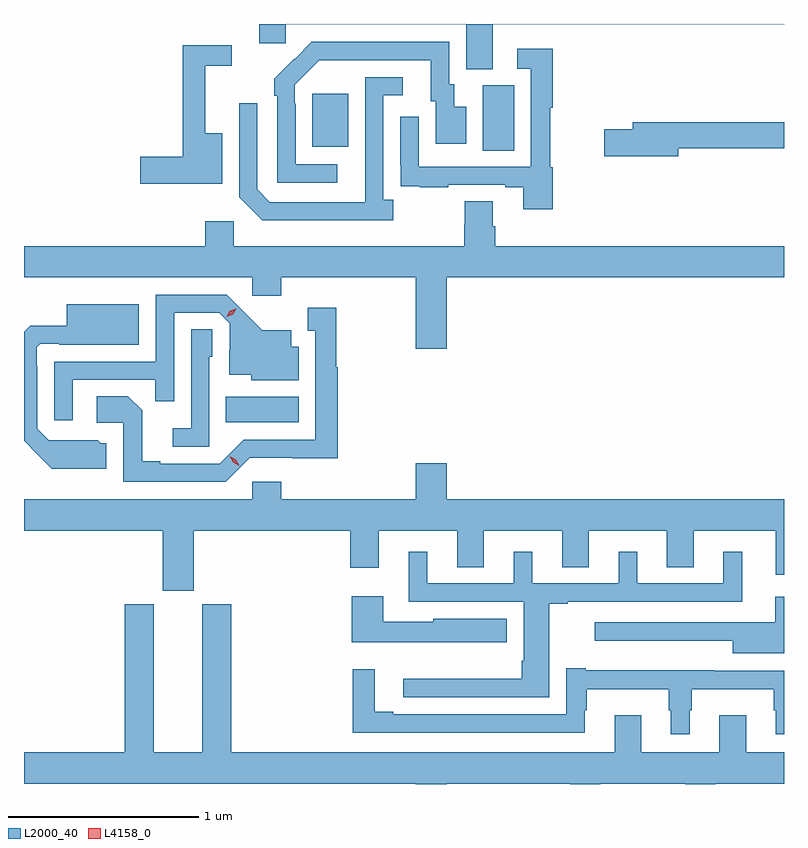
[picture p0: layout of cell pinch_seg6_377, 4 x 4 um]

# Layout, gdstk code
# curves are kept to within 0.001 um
import gdstk
lib = gdstk.Library(unit=1e-6, precision=1e-09)
def R(c, l, rs):  # rectangles x0, y0, x1, y1
    for r in rs: c.add(gdstk.rectangle(r[:2], r[2:], *l))
def P(c, l, *ps):  # polygons
    for p in ps: c.add(gdstk.Polygon(p, *l))
L2000_40 = (2000, 40)
L4158_0 = (4158, 0)

pinch_seg6_377 = lib.new_cell('pinch_seg6_377')
R(pinch_seg6_377, L2000_40, [(655.516,950.57,655.9,950.704), (656.87,952,657.034,952.344), (655.973,952.019,656.161,952.3)])
P(pinch_seg6_377, L2000_40, [(656.923,952.664),(658.455,952.664),(658.455,952.666),(654.455,952.666),(654.455,952.664),(655.694,952.664),(655.694,952.566),(655.833,952.566),(655.833,952.664),(656.783,952.664),(656.783,952.429),(656.923,952.429)],
  [(656.104,951.927),(655.884,951.927),(655.884,952.247),(655.881,952.247),(655.881,952.347),(656.01,952.476),(656.597,952.476),(656.597,952.26),(656.621,952.26),(656.621,952.035),(656.782,952.035),(656.782,952.231),(656.719,952.231),(656.719,952.35),(656.694,952.35),(656.694,952.572),(655.97,952.572),(655.773,952.377),(655.773,952.289),(655.788,952.289),(655.788,951.831),(656.104,951.831)],
  [(655.498,952.09),(655.409,952.09),(655.409,952.446),(655.549,952.446),(655.549,952.554),(655.291,952.554),(655.291,951.968),(655.068,951.968),(655.068,951.826),(655.498,951.826)],
  [(657.239,951.912),(657.224,951.912),(657.224,952.224),(657.239,952.224),(657.239,952.537),(657.051,952.537),(657.051,952.431),(657.123,952.431),(657.123,951.915),(656.532,951.915),(656.532,952.177),(656.436,952.177),(656.436,951.922),(656.437,951.922),(656.437,951.813),(656.539,951.813),(656.539,951.807),(656.687,951.807),(656.687,951.819),(656.987,951.819),(656.987,951.807),(657.083,951.807),(657.083,951.69),(657.239,951.69)],
  [(656.398,951.742),(656.346,951.742),(656.346,952.29),(656.449,952.29),(656.449,952.386),(656.25,952.386),(656.25,951.729),(655.749,951.729),(655.683,951.795),(655.683,952.249),(655.587,952.249),(655.587,951.753),(655.708,951.632),(656.398,951.632)],
  [(657.898,952.012),(658.455,952.012),(658.455,952.148),(657.659,952.148),(657.659,952.112),(657.51,952.112),(657.51,951.97),(657.898,951.97)],
  [(656.68,951.332),(658.455,951.332),(658.455,951.496),(656.936,951.496),(656.936,951.602),(656.923,951.602),(656.923,951.734),(656.776,951.734),(656.776,951.609),(656.771,951.609),(656.771,951.496),(655.56,951.496),(655.56,951.628),(655.409,951.628),(655.409,951.496),(654.455,951.496),(654.455,951.332),(655.656,951.332),(655.656,951.237),(655.808,951.237),(655.808,951.332),(656.516,951.332),(656.516,950.958),(656.68,950.958)],
  [(654.711,950.793),(655.147,950.793),(655.147,950.68),(655.245,950.68),(655.245,951.147),(655.482,951.147),(655.539,951.09),(655.539,950.948),(655.535,950.948),(655.535,950.819),(655.65,950.819),(655.65,950.792),(655.9,950.792),(655.9,950.968),(655.861,950.968),(655.861,951.055),(655.709,951.055),(655.522,951.24),(655.149,951.24),(655.149,950.889),(654.615,950.889),(654.615,950.58),(654.711,950.58)],
  [(654.889,950.46),(654.858,950.46),(654.842,950.476),(654.585,950.475),(654.525,950.535),(654.525,950.864),(654.522,950.864),(654.522,950.964),(654.54,950.982),(654.64,950.982),(654.64,950.978),(655.06,950.978),(655.06,951.19),(654.68,951.19),(654.68,951.079),(654.488,951.079),(654.455,951.046),(654.455,950.472),(654.601,950.324),(654.889,950.324)],
  [(655.644,950.382),(656.107,950.381),(656.107,950.859),(656.099,950.859),(656.099,951.172),(655.949,951.172),(655.949,951.051),(655.988,951.051),(655.988,950.478),(655.611,950.478),(655.485,950.352),(655.171,950.352),(655.171,950.365),(655.077,950.365),(655.077,950.632),(655.001,950.708),(654.837,950.708),(654.837,950.568),(654.978,950.568),(654.978,950.256),(655.518,950.256)],
  [(655.431,950.916),(655.446,950.916),(655.446,951.059),(655.335,951.059),(655.335,950.539),(655.239,950.539),(655.239,950.442),(655.431,950.442)],
  [(656.68,950.353),(656.516,950.353),(656.516,950.164),(655.808,950.164),(655.808,950.257),(655.656,950.257),(655.656,950.164),(654.455,950.164),(654.455,950),(655.184,950),(655.184,949.683),(655.348,949.683),(655.348,950),(656.171,950),(656.171,949.803),(656.323,949.803),(656.323,950),(656.735,950),(656.735,949.807),(656.875,949.807),(656.875,950),(657.287,950),(657.287,949.807),(657.427,949.807),(657.427,950),(657.839,950),(657.839,949.807),(657.979,949.807),(657.979,950),(658.412,950),(658.412,949.767),(658.455,949.767),(658.455,950.164),(656.68,950.164)],
  [(657.22,949.614),(657.316,949.614),(657.316,949.626),(658.235,949.626),(658.235,949.888),(658.136,949.888),(658.136,949.722),(657.682,949.722),(657.682,949.888),(657.584,949.888),(657.584,949.722),(657.13,949.722),(657.13,949.888),(657.032,949.888),(657.032,949.722),(656.578,949.722),(656.578,949.888),(656.48,949.888),(656.48,949.626),(657.086,949.626),(657.086,949.315),(657.074,949.315),(657.074,949.22),(656.451,949.22),(656.451,949.122),(657.22,949.122)],
  [(656.995,949.537),(656.61,949.537),(656.61,949.519),(656.347,949.519),(656.347,949.654),(656.18,949.654),(656.18,949.412),(656.995,949.412)],
  [(658.455,949.651),(658.409,949.651),(658.409,949.518),(657.459,949.518),(657.459,949.421),(658.184,949.421),(658.184,949.355),(658.455,949.355)],
  [(656.68,948.668),(657.329,948.668),(657.329,948.666),(657.489,948.666),(657.489,948.668),(657.934,948.668),(657.934,948.666),(658.094,948.666),(658.094,948.668),(658.455,948.668),(658.455,948.832),(658.255,948.832),(658.255,949.027),(658.115,949.027),(658.115,948.832),(657.703,948.832),(657.703,949.027),(657.563,949.027),(657.563,948.832),(655.547,948.832),(655.547,949.611),(655.394,949.611),(655.394,948.832),(655.138,948.832),(655.138,949.611),(654.986,949.611),(654.986,948.832),(654.455,948.832),(654.455,948.668),(656.516,948.668),(656.516,948.666),(656.68,948.666)],
  [(657.958,949.055),(657.97,949.055),(657.97,949.166),(658.401,949.166),(658.401,949.055),(658.412,949.055),(658.412,948.927),(658.455,948.927),(658.455,949.263),(658.088,949.263),(658.088,949.264),(657.412,949.264),(657.412,949.276),(657.309,949.276),(657.309,949.032),(656.398,949.032),(656.398,949.045),(656.302,949.045),(656.302,949.27),(656.185,949.27),(656.185,948.936),(657.406,948.936),(657.406,949.055),(657.418,949.055),(657.418,949.166),(657.849,949.166),(657.849,949.055),(657.86,949.055),(657.86,948.927),(657.958,948.927)])
P(pinch_seg6_377, L4158_0, [(655.522,951.124),(655.522,951.124),(655.539,951.153),(655.57,951.168),(655.571,951.168),(655.571,951.168),(655.553,951.139),(655.522,951.124)],
  [(655.587,950.34),(655.556,950.359),(655.538,950.392),(655.538,950.392),(655.539,950.392),(655.57,950.373),(655.588,950.34),(655.588,950.34)])

lib.write_gds('pinch_seg6_377.gds')
